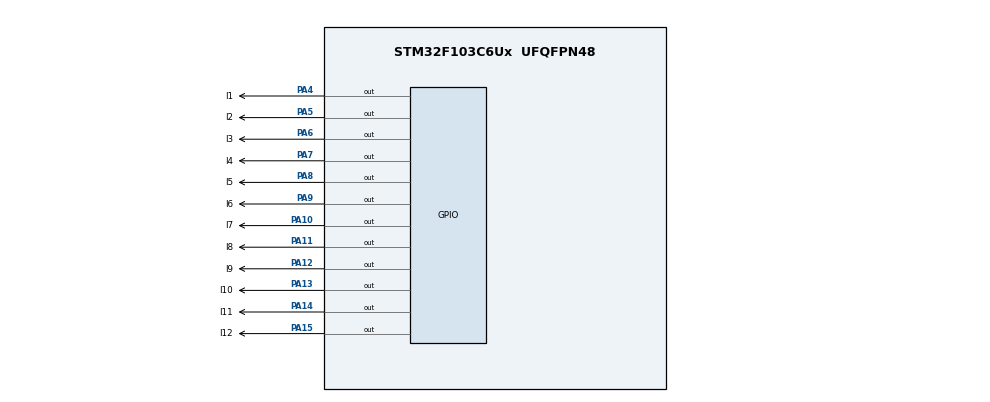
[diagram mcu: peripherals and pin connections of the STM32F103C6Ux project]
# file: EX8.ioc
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Mcu.Family=STM32F1
Mcu.Name=STM32F103C6Ux
Mcu.Package=UFQFPN48
NVIC.PriorityGroup=NVIC_PRIORITYGROUP_4
PA10.GPIO_Label=l7
PA10.Signal=GPIO_Output
PA11.GPIO_Label=l8
PA11.Signal=GPIO_Output
PA12.GPIO_Label=l9
PA12.Signal=GPIO_Output
PA13.GPIO_Label=l10
PA13.Signal=GPIO_Output
PA14.GPIO_Label=l11
PA14.Signal=GPIO_Output
PA15.GPIO_Label=l12
PA15.Signal=GPIO_Output
PA4.GPIO_Label=l1
PA4.Signal=GPIO_Output
PA5.GPIO_Label=l2
PA5.Signal=GPIO_Output
PA6.GPIO_Label=l3
PA6.Signal=GPIO_Output
PA7.GPIO_Label=l4
PA7.Signal=GPIO_Output
PA8.GPIO_Label=l5
PA8.Signal=GPIO_Output
PA9.GPIO_Label=l6
PA9.Signal=GPIO_Output
ProjectManager.HeapSize=0x200
ProjectManager.StackSize=0x400
ProjectManager.TargetToolchain=STM32CubeIDE
RCC.APB1Freq_Value=8000000
RCC.APB2Freq_Value=8000000
VP_SYS_VS_ND.Mode=No_Debug
board=custom

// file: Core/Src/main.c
/* USER CODE BEGIN Header */
/**
  ******************************************************************************
  * @file           : main.c
  * @brief          : Main program body
  ******************************************************************************
  * @attention
  *
  * <h2><center>&copy; Copyright (c) 2022 STMicroelectronics.
  * All rights reserved.</center></h2>
  *
  * This software component is licensed by ST under BSD 3-Clause license,
  * the "License"; You may not use this file except in compliance with the
  * License. You may obtain a copy of the License at:
  *                        opensource.org/licenses/BSD-3-Clause
  *
  ******************************************************************************
  */
/* USER CODE END Header */
#include "main.h"

void SystemClock_Config(void);
static void MX_GPIO_Init(void);

/* USER CODE BEGIN 0 */
void setNumberOnClock(int num){
	  switch(num){
	  case 0:
		  HAL_GPIO_WritePin(l1_GPIO_Port,l1_Pin, GPIO_PIN_RESET) ;
		  break;
	  case 1:
		  HAL_GPIO_WritePin(l2_GPIO_Port,l2_Pin, GPIO_PIN_RESET) ;
		  break;
	  case 2:
		  HAL_GPIO_WritePin(l3_GPIO_Port,l3_Pin, GPIO_PIN_RESET) ;
		  break;
	  case 3:
		  HAL_GPIO_WritePin(l4_GPIO_Port,l4_Pin, GPIO_PIN_RESET) ;
		  break;
	  case 4:
		  HAL_GPIO_WritePin(l5_GPIO_Port,l5_Pin, GPIO_PIN_RESET) ;
		  break;
	  case 5:
		  HAL_GPIO_WritePin(l6_GPIO_Port,l6_Pin, GPIO_PIN_RESET) ;
		  break;
	  case 6:
		  HAL_GPIO_WritePin(l7_GPIO_Port,l7_Pin, GPIO_PIN_RESET) ;
		  break;
	  case 7:
		  HAL_GPIO_WritePin(l8_GPIO_Port,l8_Pin, GPIO_PIN_RESET) ;
		  break;
	  case 8:
		  HAL_GPIO_WritePin(l9_GPIO_Port,l9_Pin, GPIO_PIN_RESET) ;
		  break;
	  case 9:
		  HAL_GPIO_WritePin(l10_GPIO_Port,l10_Pin, GPIO_PIN_RESET) ;
		  break;
	  case 10:
		  HAL_GPIO_WritePin(l11_GPIO_Port,l11_Pin, GPIO_PIN_RESET) ;
		  break;
	  case 11:
		  HAL_GPIO_WritePin(l12_GPIO_Port,l12_Pin, GPIO_PIN_RESET) ;
		  break;
	  }
}
/* USER CODE END 0 */

int main(void)
{

  /* MCU Configuration--------------------------------------------------------*/

  /* Reset of all peripherals, Initializes the Flash interface and the Systick. */
  HAL_Init();

  /* Configure the system clock */
  SystemClock_Config();

  /* Initialize all configured peripherals */
  MX_GPIO_Init();

  /* Infinite loop */
  while (1)
  {

  }
}

void SystemClock_Config(void)
{
  RCC_OscInitTypeDef RCC_OscInitStruct = {0};
  RCC_ClkInitTypeDef RCC_ClkInitStruct = {0};

  /** Initializes the RCC Oscillators according to the specified parameters
  * in the RCC_OscInitTypeDef structure.
  */
  RCC_OscInitStruct.OscillatorType = RCC_OSCILLATORTYPE_HSI;
  RCC_OscInitStruct.HSIState = RCC_HSI_ON;
  RCC_OscInitStruct.HSICalibrationValue = RCC_HSICALIBRATION_DEFAULT;
  RCC_OscInitStruct.PLL.PLLState = RCC_PLL_NONE;
  if (HAL_RCC_OscConfig(&RCC_OscInitStruct) != HAL_OK)
  {
    Error_Handler();
  }
  /** Initializes the CPU, AHB and APB buses clocks
  */
  RCC_ClkInitStruct.ClockType = RCC_CLOCKTYPE_HCLK|RCC_CLOCKTYPE_SYSCLK
                              |RCC_CLOCKTYPE_PCLK1|RCC_CLOCKTYPE_PCLK2;
  RCC_ClkInitStruct.SYSCLKSource = RCC_SYSCLKSOURCE_HSI;
  RCC_ClkInitStruct.AHBCLKDivider = RCC_SYSCLK_DIV1;
  RCC_ClkInitStruct.APB1CLKDivider = RCC_HCLK_DIV1;
  RCC_ClkInitStruct.APB2CLKDivider = RCC_HCLK_DIV1;

  if (HAL_RCC_ClockConfig(&RCC_ClkInitStruct, FLASH_LATENCY_0) != HAL_OK)
  {
    Error_Handler();
  }
}

static void MX_GPIO_Init(void)
{
  GPIO_InitTypeDef GPIO_InitStruct = {0};

  /* GPIO Ports Clock Enable */
  __HAL_RCC_GPIOA_CLK_ENABLE();

  /*Configure GPIO pin Output Level */
  HAL_GPIO_WritePin(GPIOA, l1_Pin|l2_Pin|l3_Pin|l4_Pin
                          |l5_Pin|l6_Pin|l7_Pin|l8_Pin
                          |l9_Pin|l10_Pin|l11_Pin|l12_Pin, GPIO_PIN_RESET);

  /*Configure GPIO pins : l1_Pin l2_Pin l3_Pin l4_Pin
                           l5_Pin l6_Pin l7_Pin l8_Pin
                           l9_Pin l10_Pin l11_Pin l12_Pin */
  GPIO_InitStruct.Pin = l1_Pin|l2_Pin|l3_Pin|l4_Pin
                          |l5_Pin|l6_Pin|l7_Pin|l8_Pin
                          |l9_Pin|l10_Pin|l11_Pin|l12_Pin;
  GPIO_InitStruct.Mode = GPIO_MODE_OUTPUT_PP;
  GPIO_InitStruct.Pull = GPIO_NOPULL;
  GPIO_InitStruct.Speed = GPIO_SPEED_FREQ_LOW;
  HAL_GPIO_Init(GPIOA, &GPIO_InitStruct);

}

void Error_Handler(void)
{
  __disable_irq();
  while (1)
  {
  }
}

/************************ (C) COPYRIGHT STMicroelectronics *****END OF FILE****/
